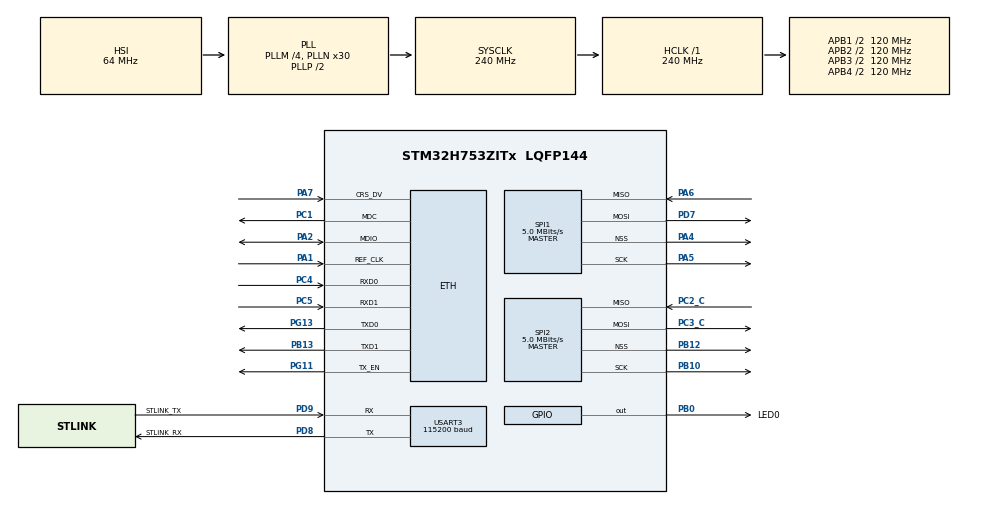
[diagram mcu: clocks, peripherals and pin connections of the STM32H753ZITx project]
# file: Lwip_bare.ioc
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CORTEX_M7.AccessPermission_S-Cortex_Memory_Protection_Unit_Region1_Settings_S=MPU_REGION_FULL_ACCESS
CORTEX_M7.AccessPermission_S-Cortex_Memory_Protection_Unit_Region2_Settings_S=MPU_REGION_FULL_ACCESS
CORTEX_M7.AccessPermission_Spec=MPU_REGION_NO_ACCESS
CORTEX_M7.BaseAddress_S-Cortex_Memory_Protection_Unit_Region1_Settings_S=0x30020000
CORTEX_M7.BaseAddress_S-Cortex_Memory_Protection_Unit_Region2_Settings_S=0x30040000
CORTEX_M7.BaseAddress_Spec=0x0
CORTEX_M7.CPU_DCache=Enabled
CORTEX_M7.CPU_ICache=Enabled
CORTEX_M7.DisableExec_S-Cortex_Memory_Protection_Unit_Region1_Settings_S=MPU_INSTRUCTION_ACCESS_DISABLE
CORTEX_M7.DisableExec_S-Cortex_Memory_Protection_Unit_Region2_Settings_S=MPU_INSTRUCTION_ACCESS_DISABLE
CORTEX_M7.DisableExec_Spec=MPU_INSTRUCTION_ACCESS_DISABLE
CORTEX_M7.Enable_S-Cortex_Memory_Protection_Unit_Region10_Settings_S=__NULL
CORTEX_M7.Enable_S-Cortex_Memory_Protection_Unit_Region11_Settings_S=__NULL
CORTEX_M7.Enable_S-Cortex_Memory_Protection_Unit_Region12_Settings_S=__NULL
CORTEX_M7.Enable_S-Cortex_Memory_Protection_Unit_Region13_Settings_S=__NULL
CORTEX_M7.Enable_S-Cortex_Memory_Protection_Unit_Region14_Settings_S=__NULL
CORTEX_M7.Enable_S-Cortex_Memory_Protection_Unit_Region15_Settings_S=__NULL
CORTEX_M7.Enable_S-Cortex_Memory_Protection_Unit_Region1_Settings_S=MPU_REGION_ENABLE
CORTEX_M7.Enable_S-Cortex_Memory_Protection_Unit_Region2_Settings_S=MPU_REGION_ENABLE
CORTEX_M7.Enable_S-Cortex_Memory_Protection_Unit_Region3_Settings_S=__NULL
CORTEX_M7.Enable_S-Cortex_Memory_Protection_Unit_Region4_Settings_S=__NULL
CORTEX_M7.Enable_S-Cortex_Memory_Protection_Unit_Region5_Settings_S=__NULL
CORTEX_M7.Enable_S-Cortex_Memory_Protection_Unit_Region6_Settings_S=__NULL
CORTEX_M7.Enable_S-Cortex_Memory_Protection_Unit_Region7_Settings_S=__NULL
CORTEX_M7.Enable_S-Cortex_Memory_Protection_Unit_Region8_Settings_S=__NULL
CORTEX_M7.Enable_S-Cortex_Memory_Protection_Unit_Region9_Settings_S=__NULL
CORTEX_M7.Enable_Spec=MPU_REGION_ENABLE
CORTEX_M7.IsBufferable_S-Cortex_Memory_Protection_Unit_Region1_Settings_S=MPU_ACCESS_NOT_BUFFERABLE
CORTEX_M7.IsBufferable_S-Cortex_Memory_Protection_Unit_Region2_Settings_S=MPU_ACCESS_BUFFERABLE
CORTEX_M7.IsBufferable_Spec=MPU_ACCESS_NOT_BUFFERABLE
CORTEX_M7.IsCacheable_S-Cortex_Memory_Protection_Unit_Region1_Settings_S=MPU_ACCESS_NOT_CACHEABLE
CORTEX_M7.IsCacheable_S-Cortex_Memory_Protection_Unit_Region2_Settings_S=MPU_ACCESS_NOT_CACHEABLE
CORTEX_M7.IsCacheable_Spec=MPU_ACCESS_NOT_CACHEABLE
CORTEX_M7.IsShareable_S-Cortex_Memory_Protection_Unit_Region1_Settings_S=MPU_ACCESS_NOT_SHAREABLE
CORTEX_M7.IsShareable_S-Cortex_Memory_Protection_Unit_Region2_Settings_S=MPU_ACCESS_SHAREABLE
CORTEX_M7.IsShareable_Spec=MPU_ACCESS_SHAREABLE
CORTEX_M7.MPU_Control=MPU_PRIVILEGED_DEFAULT
CORTEX_M7.Size_S-Cortex_Memory_Protection_Unit_Region1_Settings_S=MPU_REGION_SIZE_128KB
CORTEX_M7.Size_S-Cortex_Memory_Protection_Unit_Region2_Settings_S=MPU_REGION_SIZE_512B
CORTEX_M7.Size_Spec=MPU_REGION_SIZE_4GB
CORTEX_M7.SubRegionDisable_S-Cortex_Memory_Protection_Unit_Region1_Settings_S=0x0
CORTEX_M7.SubRegionDisable_S-Cortex_Memory_Protection_Unit_Region2_Settings_S=0x0
CORTEX_M7.SubRegionDisable_Spec=0x87
CORTEX_M7.TypeExtField_S-Cortex_Memory_Protection_Unit_Region1_Settings_S=MPU_TEX_LEVEL1
CORTEX_M7.TypeExtField_S-Cortex_Memory_Protection_Unit_Region2_Settings_S=MPU_TEX_LEVEL0
CORTEX_M7.TypeExtField_Spec=MPU_TEX_LEVEL0
CORTEX_M7.default_mode_Activation=1
ETH.ETH_RX_DESC_CNT=4
ETH.ETH_TX_DESC_CNT=4
ETH.MACAddr=00\:80\:E1\:00\:00\:00
ETH.MediaInterface=HAL_ETH_RMII_MODE
ETH.RxBuffLen=1536
ETH.RxBufferAddress=0x30040200
ETH.RxDescAddress=0x30040000
ETH.TxDescAddress=0x30040060
LWIP.API_LIB_DEBUG=LWIP_DBG_OFF
LWIP.API_MSG_DEBUG=LWIP_DBG_OFF
LWIP.ARP_MAXAGE=300
LWIP.ARP_QUEUEING=0
LWIP.ARP_QUEUE_LEN=3
LWIP.ARP_TABLE_SIZE=10
LWIP.AUTOIP_DEBUG=LWIP_DBG_OFF
LWIP.BSP.number=1
LWIP.CBCP_SUPPORT=0
LWIP.CCP_SUPPORT=0
LWIP.CHAP_DEFTIMEOUT=6
LWIP.CHAP_DEFTRANSMITS=10
LWIP.CHAP_SUPPORT=0
LWIP.CHECKSUM_BY_HARDWARE=1
LWIP.CHECKSUM_CHECK_ICMP=1
LWIP.CHECKSUM_CHECK_ICMP6=0
LWIP.CHECKSUM_CHECK_IP=0
LWIP.CHECKSUM_CHECK_TCP=0
LWIP.CHECKSUM_CHECK_UDP=0
LWIP.CHECKSUM_GEN_ICMP=1
LWIP.CHECKSUM_GEN_ICMP6=0
LWIP.CHECKSUM_GEN_IP=0
LWIP.CHECKSUM_GEN_TCP=0
LWIP.CHECKSUM_GEN_UDP=0
LWIP.CMSIS_VERSION-Enabled=1
LWIP.DEFAULT_ACCEPTMBOX_SIZE=6
LWIP.DEFAULT_RAW_RECVMBOX_SIZE=0
LWIP.DEFAULT_TCP_RECVMBOX_SIZE=6
LWIP.DEFAULT_THREAD_NAME="lwIP"
LWIP.DEFAULT_THREAD_PRIO=3
LWIP.DEFAULT_THREAD_STACKSIZE=1024
LWIP.DEFAULT_UDP_RECVMBOX_SIZE=6
LWIP.DEMAND_SUPPORT=0
LWIP.DHCP6_DEBUG=LWIP_DBG_OFF
LWIP.DHCP_DEBUG=LWIP_DBG_OFF
LWIP.DHCP_DOES_ARP_CHECK=1
LWIP.DNS_DEBUG=LWIP_DBG_OFF
LWIP.DNS_DOES_NAME_CHECK=1
LWIP.DNS_LOCAL_HOSTLIST=0
LWIP.DNS_LOCAL_HOSTLIST_IS_DYNAMIC=0
LWIP.DNS_MAX_NAME_LENGTH=256
LWIP.DNS_MAX_RETRIES=4
LWIP.DNS_MAX_SERVERS=2
LWIP.DNS_TABLE_SIZE=4
LWIP.EAP_DEFALLOWREQ=10
LWIP.EAP_DEFREQTIME=6
LWIP.EAP_SUPPORT=0
LWIP.ECP_SUPPORT=0
LWIP.ETHARP_DEBUG=LWIP_DBG_OFF
LWIP.ETHARP_STATS=0
LWIP.ETHARP_SUPPORT_STATIC_ENTRIES=0
LWIP.ETHARP_SUPPORT_VLAN=0
LWIP.ETHARP_TABLE_MATCH_NETIF=1
LWIP.ETH_PAD_SIZE=0
LWIP.ETH_RX_BUFFER_CNT=10
LWIP.FSM_DEFMAXCONFREQS=10
LWIP.FSM_DEFMAXNAKLOOPS=5
LWIP.FSM_DEFMAXTERMREQS=2
LWIP.FSM_DEFTIMEOUT=6
LWIP.HTTPD_DEBUG=LWIP_DBG_OFF
LWIP.HTTPD_DEBUG_TIMING=LWIP_DBG_OFF
LWIP.ICMP6_STATS=0
LWIP.ICMP_DEBUG=LWIP_DBG_OFF
LWIP.ICMP_STATS=0
LWIP.ICMP_TTL=255
LWIP.IGMP_DEBUG=LWIP_DBG_OFF
LWIP.IGMP_STATS=0
LWIP.INET_DEBUG=LWIP_DBG_OFF
LWIP.IP6_DEBUG=LWIP_DBG_OFF
LWIP.IP6_FRAG_STATS=0
LWIP.IP6_STATS=0
LWIP.IPFRAG_STATS=0
LWIP.IPV6_REASS_MAXAGE=60
LWIP.IP_ADDRESS=010.022.247.108
LWIP.IP_DEBUG=LWIP_DBG_OFF
LWIP.IP_DEFAULT_TTL=255
LWIP.IP_FORWARD=0
LWIP.IP_FORWARD_ALLOW_TX_ON_RX_NETIF=0
LWIP.IP_FRAG=1
LWIP.IP_OPTIONS_ALLOWED=1
LWIP.IP_REASSEMBLY=1
LWIP.IP_REASS_DEBUG=LWIP_DBG_OFF
LWIP.IP_REASS_MAXAGE=15
LWIP.IP_REASS_MAX_PBUFS=10
LWIP.IP_SOF_BROADCAST=0
LWIP.IP_SOF_BROADCAST_RECV=0
LWIP.IP_STATS=0
LWIP.LCP_DEFLOOPBACKFAIL=10
LWIP.LCP_ECHOINTERVAL=0
LWIP.LCP_MAXECHOFAILS=3
LWIP.LINK_STATS=0
LWIP.LQR_SUPPORT=0
LWIP.LWIP_ALLOW_MEM_FREE_FROM_OTHER_CONTEXT=0
LWIP.LWIP_ALTCP=0
LWIP.LWIP_ALTCP_TLS=0
LWIP.LWIP_ARP=1
LWIP.LWIP_AUTOIP=0
LWIP.LWIP_BROADCAST_PING=0
LWIP.LWIP_CALLBACK_API=1
LWIP.LWIP_CHECKSUM_CTRL_PER_NETIF=0
LWIP.LWIP_CHECKSUM_ON_COPY=0
LWIP.LWIP_COMPAT_SOCKETS=1
LWIP.LWIP_DBG_MIN_LEVEL=LWIP_DBG_LEVEL_ALL
LWIP.LWIP_DBG_TYPES_ON=LWIP_DBG_ON
LWIP.LWIP_DHCP=1
LWIP.LWIP_DHCP6_GET_NTP_SRV=0
LWIP.LWIP_DHCP6_MAX_DNS_SERVERS=2
LWIP.LWIP_DHCP6_MAX_NTP_SERVERS=1
LWIP.LWIP_DHCP_AUTOIP_COOP=0
LWIP.LWIP_DHCP_AUTOIP_COOP_TRIES=9
LWIP.LWIP_DHCP_BOOTP_FILE=0
LWIP.LWIP_DHCP_GET_NTP_SRV=0
LWIP.LWIP_DHCP_MAX_DNS_SERVERS=2
LWIP.LWIP_DHCP_MAX_NTP_SERVERS=1
LWIP.LWIP_DISABLE_MEMP_SANITY_CHECKS=0
LWIP.LWIP_DISABLE_TCP_SANITY_CHECKS=0
LWIP.LWIP_DNS=0
LWIP.LWIP_DNS_SECURE=7
LWIP.LWIP_DNS_SUPPORT_MDNS_QUERIES=0
LWIP.LWIP_ETHERNET=1
LWIP.LWIP_EVENT_API=0
LWIP.LWIP_HAVE_LOOPIF=0
LWIP.LWIP_HTTPD=0
LWIP.LWIP_ICMP=1
LWIP.LWIP_ICMP6=0
LWIP.LWIP_ICMP6_DATASIZE=8
LWIP.LWIP_ICMP6_HL=255
LWIP.LWIP_IGMP=0
LWIP.LWIP_INCLUDED_POLARSSL_ARC4=0
LWIP.LWIP_INCLUDED_POLARSSL_DES=0
LWIP.LWIP_INCLUDED_POLARSSL_MD4=0
LWIP.LWIP_INCLUDED_POLARSSL_MD5=0
LWIP.LWIP_INCLUDED_POLARSSL_SHA1=0
LWIP.LWIP_IPV4=1
LWIP.LWIP_IPV6=0
LWIP.LWIP_IPV6_ADDRESS_LIFETIMES=0
LWIP.LWIP_IPV6_AUTOCONFIG=0
LWIP.LWIP_IPV6_DHCP6=0
LWIP.LWIP_IPV6_DHCP6_STATEFUL=0
LWIP.LWIP_IPV6_DHCP6_STATELESS=0
LWIP.LWIP_IPV6_DUP_DETECT_ATTEMPTS=1
LWIP.LWIP_IPV6_FORWARD=0
LWIP.LWIP_IPV6_FRAG=1
LWIP.LWIP_IPV6_MLD=0
LWIP.LWIP_IPV6_NUM_ADDRESSES=3
LWIP.LWIP_IPV6_REASS=0
LWIP.LWIP_IPV6_SCOPES=0
LWIP.LWIP_IPV6_SCOPES_DEBUG=0
LWIP.LWIP_IPV6_SEND_ROUTER_SOLICIT=1
LWIP.LWIP_LOOPBACK_MAX_PBUFS=0
LWIP.LWIP_LOOPIF_MULTICAST=0
LWIP.LWIP_MDNS=0
LWIP.LWIP_MIB2_CALLBACKS=0
LWIP.LWIP_MPU_COMPATIBLE=0
LWIP.LWIP_MULTICAST_PING=0
LWIP.LWIP_MULTICAST_TX_OPTIONS=0
LWIP.LWIP_ND6_ALLOW_RA_UPDATES=1
LWIP.LWIP_ND6_DELAY_FIRST_PROBE_TIME=5000
LWIP.LWIP_ND6_MAX_ANYCAST_DELAY_TIME=1000
LWIP.LWIP_ND6_MAX_MULTICAST_SOLICIT=3
LWIP.LWIP_ND6_MAX_NEIGHBOR_ADVERTISEMENT=3
LWIP.LWIP_ND6_MAX_UNICAST_SOLICIT=3
LWIP.LWIP_ND6_NUM_DESTINATIONS=10
LWIP.LWIP_ND6_NUM_NEIGHBORS=10
LWIP.LWIP_ND6_NUM_PREFIXES=5
LWIP.LWIP_ND6_NUM_ROUTERS=3
LWIP.LWIP_ND6_QUEUEING=0
LWIP.LWIP_ND6_RDNSS_MAX_DNS_SERVERS=0
LWIP.LWIP_ND6_REACHABLE_TIME=30000
LWIP.LWIP_ND6_RETRANS_TIMER=1000
LWIP.LWIP_ND6_TCP_REACHABILITY_HINTS=1
LWIP.LWIP_NETBUF_RECVINFO=0
LWIP.LWIP_NETIF_API=0
LWIP.LWIP_NETIF_EXT_STATUS_CALLBACK=0
LWIP.LWIP_NETIF_HOSTNAME=0
LWIP.LWIP_NETIF_HWADDRHINT=0
LWIP.LWIP_NETIF_LINK_CALLBACK=1
LWIP.LWIP_NETIF_LOOPBACK=1
LWIP.LWIP_NETIF_LOOPBACK_MULTITHREADING=0
LWIP.LWIP_NETIF_REMOVE_CALLBACK=0
LWIP.LWIP_NETIF_STATUS_CALLBACK=0
LWIP.LWIP_NETIF_TX_SINGLE_PBUF=0
LWIP.LWIP_NUM_NETIF_CLIENT_DATA=0
LWIP.LWIP_PBUF_REF_T=u8_t
LWIP.LWIP_PERF=0
LWIP.LWIP_PPP_API=0
LWIP.LWIP_RAM_HEAP_POINTER=0x30020000
LWIP.LWIP_RAW=0
LWIP.LWIP_SINGLE_NETIF=0
LWIP.LWIP_SMTP=0
LWIP.LWIP_SNMP=0
LWIP.LWIP_SNMP_CONFIGURE_VERSIONS=0
LWIP.LWIP_SNMP_V3=0
LWIP.LWIP_SNMP_V3_CRYPTO=0
LWIP.LWIP_SNMP_V3_MBEDTLS=0
LWIP.LWIP_SNTP=0
LWIP.LWIP_SOCKET=0
LWIP.LWIP_SOCKET_OFFSET=0
LWIP.LWIP_STATS=0
LWIP.LWIP_STATS_DISPLAY=0
LWIP.LWIP_SUPPORT_CUSTOM_PBUF=1
LWIP.LWIP_TCP=1
LWIP.LWIP_TCPIP_CORE_LOCKING=0
LWIP.LWIP_TCPIP_CORE_LOCKING_INPUT=0
LWIP.LWIP_TCP_CLOSE_TIMEOUT_MS_DEFAULT=20000
LWIP.LWIP_TCP_MAX_SACK_NUM=4
LWIP.LWIP_TCP_PCB_NUM_EXT_ARGS=0
LWIP.LWIP_TCP_SACK_OUT=0
LWIP.LWIP_TCP_TIMESTAMPS=0
LWIP.LWIP_TESTMODE=0
LWIP.LWIP_TFTP=0
LWIP.LWIP_TIMERS=1
LWIP.LWIP_TIMERS_CUSTOM=0
LWIP.LWIP_UDP=1
LWIP.LWIP_UDPLITE=0
LWIP.LWIP_USE_EXTERNAL_MBEDTLS=0
LWIP.LWIP_USE_EXTERNAL_POLARSSL=0
LWIP.LWIP_WND_SCALE=0
LWIP.MAXNAMELEN=256
LWIP.MAXSECRETLEN=256
LWIP.MDNS_DEBUG=LWIP_DBG_OFF
LWIP.MEMCPY(dst,src,len)=memcpy(dst,src,len)
LWIP.MEMMOVE(dst,src,len)=memmove(dst,src,len)
LWIP.MEMP_DEBUG=LWIP_DBG_OFF
LWIP.MEMP_MEM_INIT=0
LWIP.MEMP_MEM_MALLOC=0
LWIP.MEMP_NUM_API_MSG=8
LWIP.MEMP_NUM_ARP_QUEUE=30
LWIP.MEMP_NUM_DNS_API_MSG=8
LWIP.MEMP_NUM_FRAG_PBUF=15
LWIP.MEMP_NUM_IGMP_GROUP=8
LWIP.MEMP_NUM_LOCALHOSTLIST=1
LWIP.MEMP_NUM_MLD6_GROUP=4
LWIP.MEMP_NUM_ND6_QUEUE=20
LWIP.MEMP_NUM_NETBUF=2
LWIP.MEMP_NUM_NETCONN=4
LWIP.MEMP_NUM_NETDB=1
LWIP.MEMP_NUM_NETIFAPI_MSG=8
LWIP.MEMP_NUM_PBUF=16
LWIP.MEMP_NUM_PPPOE_INTERFACES=1
LWIP.MEMP_NUM_PPPOL2TP_INTERFACES=1
LWIP.MEMP_NUM_PPPOS_INTERFACES=1
LWIP.MEMP_NUM_PPP_API_MSG=5
LWIP.MEMP_NUM_PPP_PCB=1
LWIP.MEMP_NUM_RAW_PCB=4
LWIP.MEMP_NUM_REASSDATA=5
LWIP.MEMP_NUM_SELECT_CB=4
LWIP.MEMP_NUM_SOCKET_SETGETSOCKOPT_DATA=8
LWIP.MEMP_NUM_SYS_TIMEOUT=5
LWIP.MEMP_NUM_TCPIP_MSG_API=8
LWIP.MEMP_NUM_TCPIP_MSG_INPKT=8
LWIP.MEMP_NUM_TCP_PCB=5
LWIP.MEMP_NUM_TCP_PCB_LISTEN=8
LWIP.MEMP_NUM_TCP_SEG=16
LWIP.MEMP_NUM_UDP_PCB=4
LWIP.MEMP_OVERFLOW_CHECK=0
LWIP.MEMP_SANITY_CHECK=0
LWIP.MEMP_STATS=0
LWIP.MEMP_USE_CUSTOM_POOLS=0
LWIP.MEM_ALIGNMENT=4
LWIP.MEM_DEBUG=LWIP_DBG_OFF
LWIP.MEM_LIBC_MALLOC=0
LWIP.MEM_OVERFLOW_CHECK=0
LWIP.MEM_SANITY_CHECK=0
LWIP.MEM_SIZE=16360
LWIP.MEM_STATS=0
LWIP.MEM_USE_POOLS=0
LWIP.MEM_USE_POOLS_TRY_BIGGER_POOL=0
LWIP.MIB2_STATS=0
LWIP.MLD6_STATS=0
LWIP.MPPE_SUPPORT=0
LWIP.MSCHAP_SUPPORT=0
LWIP.ND6_STATS=0
LWIP.NETIF_DEBUG=LWIP_DBG_OFF
LWIP.NETMASK_ADDRESS=255.255.255.000
LWIP.NO_SYS=1
LWIP.PAP_SUPPORT=0
LWIP.PBUF_DEBUG=LWIP_DBG_OFF
LWIP.PBUF_LINK_ENCAPSULATION_HLEN=0
LWIP.PBUF_LINK_HLEN=14
LWIP.PBUF_POOL_BUFSIZE=592
LWIP.PBUF_POOL_SIZE=16
LWIP.PPPOE_SUPPORT=0
LWIP.PPPOL2TP_AUTH_SUPPORT=0
LWIP.PPPOL2TP_SUPPORT=0
LWIP.PPPOS_SUPPORT=0
LWIP.PPP_DEBUG=LWIP_DBG_OFF
LWIP.PPP_DEFMRU=1500
LWIP.PPP_FCS_TABLE=1
LWIP.PPP_INPROC_IRQ_SAFE=0
LWIP.PPP_IPV4_SUPPORT=1
LWIP.PPP_IPV6_SUPPORT=0
LWIP.PPP_MAXIDLEFLAG=100
LWIP.PPP_MAXMRU=1500
LWIP.PPP_MD5_RANDM=0
LWIP.PPP_MINMRU=128
LWIP.PPP_MRU=1500
LWIP.PPP_NOTIFY_PHASE=0
LWIP.PPP_NUM_TIMEOUTS=0
LWIP.PPP_NUM_TIMEOUTS_PER_PCB=2
LWIP.PPP_SERVER=0
LWIP.PPP_SUPPORT=0
LWIP.PPP_USE_PBUF_RAM=0
LWIP.PRINTPKT_SUPPORT=0
LWIP.RAW_DEBUG=LWIP_DBG_OFF
LWIP.RAW_TTL=255
LWIP.RECV_BUFSIZE_DEFAULT=2000000000
LWIP.SLIPIF_THREAD_NAME="slipif_loop"
LWIP.SLIPIF_THREAD_PRIO=3
LWIP.SLIPIF_THREAD_STACKSIZE=1024
LWIP.SLIP_DEBUG=LWIP_DBG_OFF
LWIP.SMEMCPY(dst,src,len)=memcpy(dst,src,len)
LWIP.SMTP_DEBUG=LWIP_DBG_OFF
LWIP.SNMP_DEBUG=LWIP_DBG_OFF
LWIP.SNMP_LWIP_MIB2=0
LWIP.SNMP_MIB_DEBUG=LWIP_DBG_OFF
LWIP.SNMP_USE_NETCONN=0
LWIP.SNMP_USE_RAW=1
LWIP.SNTP_DEBUG=LWIP_DBG_OFF
LWIP.SOCKETS_DEBUG=LWIP_DBG_OFF
LWIP.SYS_DEBUG=LWIP_DBG_OFF
LWIP.SYS_LIGHTWEIGHT_PROT=0
LWIP.SYS_STATS=0
LWIP.TCPIP_DEBUG=LWIP_DBG_OFF
LWIP.TCPIP_MBOX_SIZE=6
LWIP.TCPIP_THREAD_NAME="tcpip_thread"
LWIP.TCPIP_THREAD_PRIO=24
LWIP.TCPIP_THREAD_STACKSIZE=1024
LWIP.TCP_CALCULATE_EFF_SEND_MSS=1
LWIP.TCP_CWND_DEBUG=LWIP_DBG_OFF
LWIP.TCP_DEBUG=LWIP_DBG_OFF
LWIP.TCP_DEFAULT_LISTEN_BACKLOG=255
LWIP.TCP_FR_DEBUG=LWIP_DBG_OFF
LWIP.TCP_INPUT_DEBUG=LWIP_DBG_OFF
LWIP.TCP_LISTEN_BACKLOG=0
LWIP.TCP_MAXRTX=12
LWIP.TCP_MSS=536
LWIP.TCP_OOSEQ_BYTES_LIMIT(pcb)=0
LWIP.TCP_OOSEQ_MAX_BYTES=0
LWIP.TCP_OOSEQ_MAX_PBUFS=0
LWIP.TCP_OOSEQ_PBUFS_LIMIT(pcb)=0
LWIP.TCP_OUTPUT_DEBUG=LWIP_DBG_OFF
LWIP.TCP_OVERSIZE=TCP_MSS
LWIP.TCP_QLEN_DEBUG=LWIP_DBG_OFF
LWIP.TCP_QUEUE_OOSEQ=1
LWIP.TCP_RCV_SCALE=0
LWIP.TCP_RST_DEBUG=LWIP_DBG_OFF
LWIP.TCP_RTO_DEBUG=LWIP_DBG_OFF
LWIP.TCP_SNDLOWAT=1071
LWIP.TCP_SNDQUEUELOWAT=5
LWIP.TCP_SND_BUF=1072
LWIP.TCP_SND_QUEUELEN=9
LWIP.TCP_STATS=0
LWIP.TCP_SYNMAXRTX=6
LWIP.TCP_TTL=255
LWIP.TCP_WND=2144
LWIP.TCP_WND_DEBUG=LWIP_DBG_OFF
LWIP.TCP_WND_UPDATE_THRESHOLD=536
LWIP.TFTP_DEBUG=LWIP_DBG_OFF
LWIP.TIMERS_DEBUG=LWIP_DBG_OFF
LWIP.UDP_DEBUG=LWIP_DBG_OFF
LWIP.UDP_STATS=0
LWIP.UDP_TTL=255
LWIP.UPAP_DEFREQTIME=30
LWIP.UPAP_DEFTIMEOUT=6
LWIP.UPAP_DEFTRANSMITS=10
LWIP.VJ_SUPPORT=0
LWIP.Version=v2.1.2_Cube
LWIP0.BSP.STBoard=false
LWIP0.BSP.api=BSP_COMPONENT_DRIVER
LWIP0.BSP.component=LAN8742
LWIP0.BSP.instance=LAN8742
LWIP0.BSP.name=Driver_PHY
LWIP0.BSP.semaphore=S_LAN8742
LWIP0.BSP.solution=LAN8742
Mcu.Family=STM32H7
Mcu.Name=STM32H753ZITx
Mcu.Package=LQFP144
NVIC.ETH_IRQn=true\:5\:0\:false\:false\:true\:true\:true\:true
NVIC.PriorityGroup=NVIC_PRIORITYGROUP_4
NVIC.SPI1_IRQn=true\:5\:0\:true\:false\:true\:true\:true\:true
NVIC.SPI2_IRQn=true\:5\:0\:true\:false\:true\:true\:true\:true
NVIC.TIM2_IRQn=true\:0\:0\:false\:false\:true\:true\:true\:true
NVIC.TIM6_DAC_IRQn=true\:15\:0\:false\:false\:true\:false\:true\:true
NVIC.TimeBase=TIM6_DAC_IRQn
NVIC.TimeBaseIP=TIM6
PA1.GPIO_Speed_Default_HIGH=GPIO_SPEED_FREQ_VERY_HIGH
PA1.Mode=RMII
PA1.Signal=ETH_REF_CLK
PA2.GPIO_Speed_Default_HIGH=GPIO_SPEED_FREQ_VERY_HIGH
PA2.Mode=RMII
PA2.Signal=ETH_MDIO
PA4.Mode=NSS_Signal_Hard_Output
PA4.Signal=SPI1_NSS
PA5.Mode=Full_Duplex_Master
PA5.Signal=SPI1_SCK
PA6.Mode=Full_Duplex_Master
PA6.Signal=SPI1_MISO
PA7.GPIO_Speed_Default_HIGH=GPIO_SPEED_FREQ_VERY_HIGH
PA7.Mode=RMII
PA7.Signal=ETH_CRS_DV
PB0.GPIO_Label=LED0
PB0.Signal=GPIO_Output
PB10.Mode=Full_Duplex_Master
PB10.Signal=SPI2_SCK
PB12.Mode=NSS_Signal_Hard_Output
PB12.Signal=SPI2_NSS
PB13.GPIO_Speed_Default_HIGH=GPIO_SPEED_FREQ_VERY_HIGH
PB13.Mode=RMII
PB13.Signal=ETH_TXD1
PC1.GPIO_Speed_Default_HIGH=GPIO_SPEED_FREQ_VERY_HIGH
PC1.Mode=RMII
PC1.Signal=ETH_MDC
PC14-OSC32_IN\ (OSC32_IN).Signal=RCC_OSC32_IN
PC15-OSC32_OUT\ (OSC32_OUT).Signal=RCC_OSC32_OUT
PC2_C.Mode=Full_Duplex_Master
PC2_C.Signal=SPI2_MISO
PC3_C.Mode=Full_Duplex_Master
PC3_C.Signal=SPI2_MOSI
PC4.GPIO_Speed_Default_HIGH=GPIO_SPEED_FREQ_VERY_HIGH
PC4.Mode=RMII
PC4.Signal=ETH_RXD0
PC5.GPIO_Speed_Default_HIGH=GPIO_SPEED_FREQ_VERY_HIGH
PC5.Mode=RMII
PC5.Signal=ETH_RXD1
PD7.Mode=Full_Duplex_Master
PD7.Signal=SPI1_MOSI
PD8.GPIO_Label=STLINK_RX
PD8.Mode=Asynchronous
PD8.Signal=USART3_TX
PD9.GPIO_Label=STLINK_TX
PD9.Mode=Asynchronous
PD9.Signal=USART3_RX
PG11.GPIO_Speed_Default_HIGH=GPIO_SPEED_FREQ_VERY_HIGH
PG11.Mode=RMII
PG11.Signal=ETH_TX_EN
PG13.GPIO_Speed_Default_HIGH=GPIO_SPEED_FREQ_VERY_HIGH
PG13.Mode=RMII
PG13.Signal=ETH_TXD0
PH0-OSC_IN\ (PH0).Mode=HSE-External-Clock-Source
PH0-OSC_IN\ (PH0).Signal=RCC_OSC_IN
PH1-OSC_OUT\ (PH1).Signal=RCC_OSC_OUT
ProjectManager.HeapSize=0x400
ProjectManager.StackSize=0x2000
ProjectManager.TargetToolchain=STM32CubeIDE
RCC.ADCFreq_Value=129000000
RCC.APB1Freq_Value=120000000
RCC.APB2Freq_Value=120000000
RCC.APB3Freq_Value=120000000
RCC.APB4Freq_Value=120000000
RCC.CortexFreq_Value=240000000
RCC.D1PPRE=RCC_APB3_DIV2
RCC.D2PPRE1=RCC_APB1_DIV2
RCC.D2PPRE2=RCC_APB2_DIV2
RCC.D3PPRE=RCC_APB4_DIV2
RCC.DIVM1=4
RCC.DIVN1=30
RCC.DIVQ1=3
RCC.FLatency=FLASH_LATENCY_4
RCC.HCLKFreq_Value=240000000
RCC.PLLFRACN=0
RCC.PWR_Regulator_Voltage_Scale=PWR_REGULATOR_VOLTAGE_SCALE0
RCC.SYSCLKFreq_VALUE=240000000
RCC.SYSCLKSource=RCC_SYSCLKSOURCE_PLLCLK
RCC.USBFreq_Value=160000000
SPI1.BaudRatePrescaler=SPI_BAUDRATEPRESCALER_32
SPI1.CLKPhase=SPI_PHASE_1EDGE
SPI1.CLKPolarity=SPI_POLARITY_LOW
SPI1.CRCCalculation=SPI_CRCCALCULATION_DISABLE
SPI1.CalculateBaudRate=5.0 MBits/s
SPI1.DataSize=SPI_DATASIZE_8BIT
SPI1.Direction=SPI_DIRECTION_2LINES
SPI1.FifoThreshold=SPI_FIFO_THRESHOLD_01DATA
SPI1.FirstBit=SPI_FIRSTBIT_MSB
SPI1.IOSwap=SPI_IO_SWAP_DISABLE
SPI1.MasterInterDataIdleness=SPI_MASTER_INTERDATA_IDLENESS_00CYCLE
SPI1.MasterKeepIOState=SPI_MASTER_KEEP_IO_STATE_DISABLE
SPI1.MasterReceiverAutoSusp=SPI_MASTER_RX_AUTOSUSP_DISABLE
SPI1.MasterSSIdleness=SPI_MASTER_SS_IDLENESS_00CYCLE
SPI1.Mode=SPI_MODE_MASTER
SPI1.NSS=SPI_NSS_HARD_OUTPUT
SPI1.NSSPMode=SPI_NSS_PULSE_ENABLE
SPI1.NSSPolarity=SPI_NSS_POLARITY_LOW
SPI1.RxCRCInitializationPattern=SPI_CRC_INITIALIZATION_ALL_ZERO_PATTERN
SPI1.TIMode=SPI_TIMODE_DISABLE
SPI1.TxCRCInitializationPattern=SPI_CRC_INITIALIZATION_ALL_ZERO_PATTERN
SPI1.VirtualNSS=VM_NSSHARD
SPI1.VirtualType=VM_MASTER
SPI2.BaudRatePrescaler=SPI_BAUDRATEPRESCALER_32
SPI2.CLKPhase=SPI_PHASE_1EDGE
SPI2.CLKPolarity=SPI_POLARITY_LOW
SPI2.CRCCalculation=SPI_CRCCALCULATION_DISABLE
SPI2.CalculateBaudRate=5.0 MBits/s
SPI2.DataSize=SPI_DATASIZE_8BIT
SPI2.Direction=SPI_DIRECTION_2LINES
SPI2.FifoThreshold=SPI_FIFO_THRESHOLD_01DATA
SPI2.FirstBit=SPI_FIRSTBIT_MSB
SPI2.IOSwap=SPI_IO_SWAP_DISABLE
SPI2.MasterInterDataIdleness=SPI_MASTER_INTERDATA_IDLENESS_00CYCLE
SPI2.MasterKeepIOState=SPI_MASTER_KEEP_IO_STATE_DISABLE
SPI2.MasterReceiverAutoSusp=SPI_MASTER_RX_AUTOSUSP_DISABLE
SPI2.MasterSSIdleness=SPI_MASTER_SS_IDLENESS_00CYCLE
SPI2.Mode=SPI_MODE_MASTER
SPI2.NSS=SPI_NSS_HARD_OUTPUT
SPI2.NSSPMode=SPI_NSS_PULSE_ENABLE
SPI2.NSSPolarity=SPI_NSS_POLARITY_LOW
SPI2.RxCRCInitializationPattern=SPI_CRC_INITIALIZATION_ALL_ZERO_PATTERN
SPI2.TIMode=SPI_TIMODE_DISABLE
SPI2.TxCRCInitializationPattern=SPI_CRC_INITIALIZATION_ALL_ZERO_PATTERN
SPI2.VirtualNSS=VM_NSSHARD
SPI2.VirtualType=VM_MASTER
TIM2.Period=240000-1
USART3.AutoBaudRateEnableParam=UART_ADVFEATURE_AUTOBAUDRATE_DISABLE
USART3.BaudRate=115200
USART3.ClockPrescaler=PRESCALER_DIV1
USART3.DMADisableonRxErrorParam=ADVFEATURE_DMA_ENABLEONRXERROR
USART3.DataInvertParam=ADVFEATURE_DATAINV_DISABLE
USART3.FIFOMode=FIFOMODE_DISABLE
USART3.MSBFirstParam=ADVFEATURE_MSBFIRST_DISABLE
USART3.Mode=MODE_TX_RX
USART3.OneBitSampling=UART_ONE_BIT_SAMPLE_DISABLE
USART3.OverSampling=UART_OVERSAMPLING_16
USART3.OverrunDisableParam=ADVFEATURE_OVERRUN_ENABLE
USART3.Parity=PARITY_NONE
USART3.RXFIFOThreshold=RXFIFO_THRESHOLD_1EIGHTHFULL
USART3.RxPinLevelInvertParam=ADVFEATURE_RXINV_DISABLE
USART3.StopBits=STOPBITS_1
USART3.SwapParam=ADVFEATURE_SWAP_DISABLE
USART3.TXFIFOThreshold=TXFIFO_THRESHOLD_1EIGHTHFULL
USART3.TxPinLevelInvertParam=ADVFEATURE_TXINV_DISABLE
USART3.VirtualMode-Asynchronous=VM_ASYNC
USART3.WordLength=WORDLENGTH_8B
VP_LWIP_VS_Enabled.Mode=Enabled
VP_MEMORYMAP_VS_MEMORYMAP.Mode=CurAppReg
VP_SYS_VS_tim6.Mode=TIM6
VP_TIM2_VS_ClockSourceINT.Mode=Internal
board=NUCLEO-H753ZI

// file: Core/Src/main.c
/* USER CODE BEGIN Header */
/**
  ******************************************************************************
  * @file           : main.c
  * @brief          : Main program body
  ******************************************************************************
  * @attention
  *
  * Copyright (c) 2026 STMicroelectronics.
  * All rights reserved.
  *
  * This software is licensed under terms that can be found in the LICENSE file
  * in the root directory of this software component.
  * If no LICENSE file comes with this software, it is provided AS-IS.
  *
  ******************************************************************************
  */
/* USER CODE END Header */
#include "main.h"
#include "lwip.h"

/* USER CODE BEGIN Includes */
#include<string.h>
#include "print3.h"

/* USER CODE END Includes */

/* USER CODE BEGIN PD */
#define UDP_BUF_SIZE 512
#define SPI_BUF_SIZE 52

/* USER CODE END PD */

SPI_HandleTypeDef hspi1;
SPI_HandleTypeDef hspi2;

TIM_HandleTypeDef htim2;

UART_HandleTypeDef huart3;

/* USER CODE BEGIN PV */

extern struct netif gnetif;

union udp_data{
	uint8_t bytes[UDP_BUF_SIZE];
	int16_t values[UDP_BUF_SIZE/2];
};

union udp_data udp_rx;

/* SPI buffers */

union cmd_data {
    uint8_t bytes[SPI_BUF_SIZE];
    int16_t values[SPI_BUF_SIZE/2];
};

union cmd_data spi1_tx;
union cmd_data spi2_tx;
union cmd_data spi1_rx;
union cmd_data spi2_rx;

uint8_t spi_state = 0;
uint8_t spi_complete = 0;
uint16_t spi_msg_size = 0;
uint8_t spi_data_ready = 0;
uint8_t udp_avail = 0;

uint32_t sys_time_ms = 0;
uint32_t start = 0;
uint32_t end = 0;

/* USER CODE END PV */

void SystemClock_Config(void);
static void MPU_Config(void);
static void MX_GPIO_Init(void);
static void MX_SPI1_Init(void);
static void MX_SPI2_Init(void);
static void MX_USART3_UART_Init(void);
static void MX_TIM2_Init(void);
/* USER CODE BEGIN PFP */
void udp_receive_callback( void* arg,              // User argument - udp_recv `arg` parameter
                           struct udp_pcb* upcb,   // Receiving Protocol Control Block
                           struct pbuf* p,         // Pointer to Datagram
                           const ip_addr_t* addr,  // Address of sender
                           u16_t port );

uint32_t sys_time(void);

/* USER CODE END PFP */

int main(void)
{

  /* MPU Configuration--------------------------------------------------------*/
  MPU_Config();

  /* Enable the CPU Cache */

  /* Enable I-Cache---------------------------------------------------------*/
  SCB_EnableICache();

  /* Enable D-Cache---------------------------------------------------------*/
  SCB_EnableDCache();

  /* MCU Configuration--------------------------------------------------------*/

  /* Reset of all peripherals, Initializes the Flash interface and the Systick. */
  HAL_Init();

  /* Configure the system clock */
  SystemClock_Config();

  /* Initialize all configured peripherals */
  MX_GPIO_Init();
  MX_LWIP_Init();
  MX_SPI1_Init();
  MX_SPI2_Init();
  MX_USART3_UART_Init();
  MX_TIM2_Init();
  /* USER CODE BEGIN 2 */

  HAL_TIM_Base_Start_IT(&htim2);
	memset(&spi1_tx.bytes, 0, sizeof(spi1_tx.bytes));
	memset(&spi2_tx.bytes, 0, sizeof(spi2_tx.bytes));

	char msg[1024] = { 0 };

	print_uart3("Starting KASM Interface\r\n");

	/*wait for IP address to be assigned. DHCP can take a few seconds*/

	char no_ip[] = "0.0.0.0";

	print_uart3("Waiting for IP address to be assigned\r\n");

	while (strcmp(no_ip, ip4addr_ntoa(netif_ip4_addr(&gnetif))) == 0) {
		MX_LWIP_Process();
	}

	/* Determine IP address */
	sprintf(msg, "IP address: %s\r\n", ip4addr_ntoa(netif_ip4_addr(&gnetif)));
	print_uart3(msg);
	sprintf(msg, "Netmask: %s\r\n", ip4addr_ntoa(netif_ip4_netmask(&gnetif)));
	print_uart3(msg);
	sprintf(msg, "Gateway: %s\r\n", ip4addr_ntoa(netif_ip4_gw(&gnetif)));
	print_uart3(msg);

	u16_t port = 5001; // port to listen from

	struct udp_pcb *my_udp = udp_new();

	udp_bind(my_udp, IP_ADDR_ANY, port);
	udp_recv(my_udp, udp_receive_callback, NULL);

  /* USER CODE END 2 */

  /* Infinite loop */
  /* USER CODE BEGIN WHILE */
	while (1) {
		MX_LWIP_Process();

		if(spi_data_ready==1){
			sprintf(msg, "Elapsed time from receipt of ethernet to spi complete %lu\r\n", end-start);
			print_uart3(msg);
			spi_data_ready=0;
		}

    /* USER CODE END WHILE */

	}
}

void SystemClock_Config(void)
{
  RCC_OscInitTypeDef RCC_OscInitStruct = {0};
  RCC_ClkInitTypeDef RCC_ClkInitStruct = {0};

  /** Supply configuration update enable
  */
  HAL_PWREx_ConfigSupply(PWR_LDO_SUPPLY);

  /** Configure the main internal regulator output voltage
  */
  __HAL_PWR_VOLTAGESCALING_CONFIG(PWR_REGULATOR_VOLTAGE_SCALE0);

  while(!__HAL_PWR_GET_FLAG(PWR_FLAG_VOSRDY)) {}

  /** Initializes the RCC Oscillators according to the specified parameters
  * in the RCC_OscInitTypeDef structure.
  */
  RCC_OscInitStruct.OscillatorType = RCC_OSCILLATORTYPE_HSI;
  RCC_OscInitStruct.HSIState = RCC_HSI_DIV1;
  RCC_OscInitStruct.HSICalibrationValue = RCC_HSICALIBRATION_DEFAULT;
  RCC_OscInitStruct.PLL.PLLState = RCC_PLL_ON;
  RCC_OscInitStruct.PLL.PLLSource = RCC_PLLSOURCE_HSI;
  RCC_OscInitStruct.PLL.PLLM = 4;
  RCC_OscInitStruct.PLL.PLLN = 30;
  RCC_OscInitStruct.PLL.PLLP = 2;
  RCC_OscInitStruct.PLL.PLLQ = 3;
  RCC_OscInitStruct.PLL.PLLR = 2;
  RCC_OscInitStruct.PLL.PLLRGE = RCC_PLL1VCIRANGE_3;
  RCC_OscInitStruct.PLL.PLLVCOSEL = RCC_PLL1VCOWIDE;
  RCC_OscInitStruct.PLL.PLLFRACN = 0;
  if (HAL_RCC_OscConfig(&RCC_OscInitStruct) != HAL_OK)
  {
    Error_Handler();
  }

  /** Initializes the CPU, AHB and APB buses clocks
  */
  RCC_ClkInitStruct.ClockType = RCC_CLOCKTYPE_HCLK|RCC_CLOCKTYPE_SYSCLK
                              |RCC_CLOCKTYPE_PCLK1|RCC_CLOCKTYPE_PCLK2
                              |RCC_CLOCKTYPE_D3PCLK1|RCC_CLOCKTYPE_D1PCLK1;
  RCC_ClkInitStruct.SYSCLKSource = RCC_SYSCLKSOURCE_PLLCLK;
  RCC_ClkInitStruct.SYSCLKDivider = RCC_SYSCLK_DIV1;
  RCC_ClkInitStruct.AHBCLKDivider = RCC_HCLK_DIV1;
  RCC_ClkInitStruct.APB3CLKDivider = RCC_APB3_DIV2;
  RCC_ClkInitStruct.APB1CLKDivider = RCC_APB1_DIV2;
  RCC_ClkInitStruct.APB2CLKDivider = RCC_APB2_DIV2;
  RCC_ClkInitStruct.APB4CLKDivider = RCC_APB4_DIV2;

  if (HAL_RCC_ClockConfig(&RCC_ClkInitStruct, FLASH_LATENCY_4) != HAL_OK)
  {
    Error_Handler();
  }
}

static void MX_SPI1_Init(void)
{

  /* SPI1 parameter configuration*/
  hspi1.Instance = SPI1;
  hspi1.Init.Mode = SPI_MODE_MASTER;
  hspi1.Init.Direction = SPI_DIRECTION_2LINES;
  hspi1.Init.DataSize = SPI_DATASIZE_8BIT;
  hspi1.Init.CLKPolarity = SPI_POLARITY_LOW;
  hspi1.Init.CLKPhase = SPI_PHASE_1EDGE;
  hspi1.Init.NSS = SPI_NSS_HARD_OUTPUT;
  hspi1.Init.BaudRatePrescaler = SPI_BAUDRATEPRESCALER_32;
  hspi1.Init.FirstBit = SPI_FIRSTBIT_MSB;
  hspi1.Init.TIMode = SPI_TIMODE_DISABLE;
  hspi1.Init.CRCCalculation = SPI_CRCCALCULATION_DISABLE;
  hspi1.Init.CRCPolynomial = 0x0;
  hspi1.Init.NSSPMode = SPI_NSS_PULSE_ENABLE;
  hspi1.Init.NSSPolarity = SPI_NSS_POLARITY_LOW;
  hspi1.Init.FifoThreshold = SPI_FIFO_THRESHOLD_01DATA;
  hspi1.Init.TxCRCInitializationPattern = SPI_CRC_INITIALIZATION_ALL_ZERO_PATTERN;
  hspi1.Init.RxCRCInitializationPattern = SPI_CRC_INITIALIZATION_ALL_ZERO_PATTERN;
  hspi1.Init.MasterSSIdleness = SPI_MASTER_SS_IDLENESS_00CYCLE;
  hspi1.Init.MasterInterDataIdleness = SPI_MASTER_INTERDATA_IDLENESS_00CYCLE;
  hspi1.Init.MasterReceiverAutoSusp = SPI_MASTER_RX_AUTOSUSP_DISABLE;
  hspi1.Init.MasterKeepIOState = SPI_MASTER_KEEP_IO_STATE_DISABLE;
  hspi1.Init.IOSwap = SPI_IO_SWAP_DISABLE;
  if (HAL_SPI_Init(&hspi1) != HAL_OK)
  {
    Error_Handler();
  }

}

static void MX_SPI2_Init(void)
{

  /* SPI2 parameter configuration*/
  hspi2.Instance = SPI2;
  hspi2.Init.Mode = SPI_MODE_MASTER;
  hspi2.Init.Direction = SPI_DIRECTION_2LINES;
  hspi2.Init.DataSize = SPI_DATASIZE_8BIT;
  hspi2.Init.CLKPolarity = SPI_POLARITY_LOW;
  hspi2.Init.CLKPhase = SPI_PHASE_1EDGE;
  hspi2.Init.NSS = SPI_NSS_HARD_OUTPUT;
  hspi2.Init.BaudRatePrescaler = SPI_BAUDRATEPRESCALER_32;
  hspi2.Init.FirstBit = SPI_FIRSTBIT_MSB;
  hspi2.Init.TIMode = SPI_TIMODE_DISABLE;
  hspi2.Init.CRCCalculation = SPI_CRCCALCULATION_DISABLE;
  hspi2.Init.CRCPolynomial = 0x0;
  hspi2.Init.NSSPMode = SPI_NSS_PULSE_ENABLE;
  hspi2.Init.NSSPolarity = SPI_NSS_POLARITY_LOW;
  hspi2.Init.FifoThreshold = SPI_FIFO_THRESHOLD_01DATA;
  hspi2.Init.TxCRCInitializationPattern = SPI_CRC_INITIALIZATION_ALL_ZERO_PATTERN;
  hspi2.Init.RxCRCInitializationPattern = SPI_CRC_INITIALIZATION_ALL_ZERO_PATTERN;
  hspi2.Init.MasterSSIdleness = SPI_MASTER_SS_IDLENESS_00CYCLE;
  hspi2.Init.MasterInterDataIdleness = SPI_MASTER_INTERDATA_IDLENESS_00CYCLE;
  hspi2.Init.MasterReceiverAutoSusp = SPI_MASTER_RX_AUTOSUSP_DISABLE;
  hspi2.Init.MasterKeepIOState = SPI_MASTER_KEEP_IO_STATE_DISABLE;
  hspi2.Init.IOSwap = SPI_IO_SWAP_DISABLE;
  if (HAL_SPI_Init(&hspi2) != HAL_OK)
  {
    Error_Handler();
  }

}

static void MX_TIM2_Init(void)
{

  TIM_ClockConfigTypeDef sClockSourceConfig = {0};
  TIM_MasterConfigTypeDef sMasterConfig = {0};

  htim2.Instance = TIM2;
  htim2.Init.Prescaler = 0;
  htim2.Init.CounterMode = TIM_COUNTERMODE_UP;
  htim2.Init.Period = 240000-1;
  htim2.Init.ClockDivision = TIM_CLOCKDIVISION_DIV1;
  htim2.Init.AutoReloadPreload = TIM_AUTORELOAD_PRELOAD_DISABLE;
  if (HAL_TIM_Base_Init(&htim2) != HAL_OK)
  {
    Error_Handler();
  }
  sClockSourceConfig.ClockSource = TIM_CLOCKSOURCE_INTERNAL;
  if (HAL_TIM_ConfigClockSource(&htim2, &sClockSourceConfig) != HAL_OK)
  {
    Error_Handler();
  }
  sMasterConfig.MasterOutputTrigger = TIM_TRGO_RESET;
  sMasterConfig.MasterSlaveMode = TIM_MASTERSLAVEMODE_DISABLE;
  if (HAL_TIMEx_MasterConfigSynchronization(&htim2, &sMasterConfig) != HAL_OK)
  {
    Error_Handler();
  }

}

static void MX_USART3_UART_Init(void)
{

  huart3.Instance = USART3;
  huart3.Init.BaudRate = 115200;
  huart3.Init.WordLength = UART_WORDLENGTH_8B;
  huart3.Init.StopBits = UART_STOPBITS_1;
  huart3.Init.Parity = UART_PARITY_NONE;
  huart3.Init.Mode = UART_MODE_TX_RX;
  huart3.Init.HwFlowCtl = UART_HWCONTROL_NONE;
  huart3.Init.OverSampling = UART_OVERSAMPLING_16;
  huart3.Init.OneBitSampling = UART_ONE_BIT_SAMPLE_DISABLE;
  huart3.Init.ClockPrescaler = UART_PRESCALER_DIV1;
  huart3.AdvancedInit.AdvFeatureInit = UART_ADVFEATURE_NO_INIT;
  if (HAL_UART_Init(&huart3) != HAL_OK)
  {
    Error_Handler();
  }
  if (HAL_UARTEx_SetTxFifoThreshold(&huart3, UART_TXFIFO_THRESHOLD_1_8) != HAL_OK)
  {
    Error_Handler();
  }
  if (HAL_UARTEx_SetRxFifoThreshold(&huart3, UART_RXFIFO_THRESHOLD_1_8) != HAL_OK)
  {
    Error_Handler();
  }
  if (HAL_UARTEx_DisableFifoMode(&huart3) != HAL_OK)
  {
    Error_Handler();
  }

}

static void MX_GPIO_Init(void)
{
  GPIO_InitTypeDef GPIO_InitStruct = {0};

  /* GPIO Ports Clock Enable */
  __HAL_RCC_GPIOC_CLK_ENABLE();
  __HAL_RCC_GPIOH_CLK_ENABLE();
  __HAL_RCC_GPIOA_CLK_ENABLE();
  __HAL_RCC_GPIOB_CLK_ENABLE();
  __HAL_RCC_GPIOD_CLK_ENABLE();
  __HAL_RCC_GPIOG_CLK_ENABLE();

  /*Configure GPIO pin Output Level */
  HAL_GPIO_WritePin(LED0_GPIO_Port, LED0_Pin, GPIO_PIN_RESET);

  /*Configure GPIO pin : LED0_Pin */
  GPIO_InitStruct.Pin = LED0_Pin;
  GPIO_InitStruct.Mode = GPIO_MODE_OUTPUT_PP;
  GPIO_InitStruct.Pull = GPIO_NOPULL;
  GPIO_InitStruct.Speed = GPIO_SPEED_FREQ_LOW;
  HAL_GPIO_Init(LED0_GPIO_Port, &GPIO_InitStruct);

}

/* USER CODE BEGIN 4 */

void udp_receive_callback( void* arg,              // User argument - udp_recv `arg` parameter
                           struct udp_pcb* upcb,   // Receiving Protocol Control Block
                           struct pbuf* p,         // Pointer to Datagram
                           const ip_addr_t* addr,  // Address of sender
                           u16_t port ){

	// process the data
	uint16_t udp_size = p->len;
	memcpy(udp_rx.bytes,p->payload, udp_size);
	/* data are big endian and need to be converted to little endian */
	int size = udp_size/2;
	for(int i=0; i < size; i++) {
		udp_rx.values[i] = __builtin_bswap16(udp_rx.values[i]);
	}

	// handle data here and distribute to individual SPI channels
	memcpy(spi1_tx.values, udp_rx.values, udp_size);
	memcpy(spi2_tx.values, udp_rx.values, udp_size);

	// Send data to SPI peripherals
	start = sys_time();
	HAL_SPI_TransmitReceive_IT(&hspi1, spi1_tx.bytes, spi1_rx.bytes, udp_size);
	end = sys_time();
	HAL_SPI_TransmitReceive_IT(&hspi2, spi2_tx.bytes, spi2_rx.bytes, udp_size);

	// free pbuf
	pbuf_free(p);
	udp_avail=1;
}

uint32_t sys_time(void){
	uint32_t current = sys_time_ms * 1000 + (TIM2->CNT)/240;
	return(current);

}
void HAL_SPI_TxRxCpltCallback (SPI_HandleTypeDef *hspi) {

	if(hspi->Instance == SPI1) {
	}
	if(hspi->Instance == SPI2) {
		HAL_GPIO_TogglePin(LED0_GPIO_Port, LED0_Pin);
		spi_data_ready=1;
	}

	return;
}

/* USER CODE END 4 */

 /* MPU Configuration */

void MPU_Config(void)
{
  MPU_Region_InitTypeDef MPU_InitStruct = {0};

  /* Disables the MPU */
  HAL_MPU_Disable();

  /** Initializes and configures the Region and the memory to be protected
  */
  MPU_InitStruct.Enable = MPU_REGION_ENABLE;
  MPU_InitStruct.Number = MPU_REGION_NUMBER0;
  MPU_InitStruct.BaseAddress = 0x0;
  MPU_InitStruct.Size = MPU_REGION_SIZE_4GB;
  MPU_InitStruct.SubRegionDisable = 0x87;
  MPU_InitStruct.TypeExtField = MPU_TEX_LEVEL0;
  MPU_InitStruct.AccessPermission = MPU_REGION_NO_ACCESS;
  MPU_InitStruct.DisableExec = MPU_INSTRUCTION_ACCESS_DISABLE;
  MPU_InitStruct.IsShareable = MPU_ACCESS_SHAREABLE;
  MPU_InitStruct.IsCacheable = MPU_ACCESS_NOT_CACHEABLE;
  MPU_InitStruct.IsBufferable = MPU_ACCESS_NOT_BUFFERABLE;

  HAL_MPU_ConfigRegion(&MPU_InitStruct);

  /** Initializes and configures the Region and the memory to be protected
  */
  MPU_InitStruct.Number = MPU_REGION_NUMBER1;
  MPU_InitStruct.BaseAddress = 0x30020000;
  MPU_InitStruct.Size = MPU_REGION_SIZE_128KB;
  MPU_InitStruct.SubRegionDisable = 0x0;
  MPU_InitStruct.TypeExtField = MPU_TEX_LEVEL1;
  MPU_InitStruct.AccessPermission = MPU_REGION_FULL_ACCESS;
  MPU_InitStruct.IsShareable = MPU_ACCESS_NOT_SHAREABLE;

  HAL_MPU_ConfigRegion(&MPU_InitStruct);

  /** Initializes and configures the Region and the memory to be protected
  */
  MPU_InitStruct.Number = MPU_REGION_NUMBER2;
  MPU_InitStruct.BaseAddress = 0x30040000;
  MPU_InitStruct.Size = MPU_REGION_SIZE_512B;
  MPU_InitStruct.TypeExtField = MPU_TEX_LEVEL0;
  MPU_InitStruct.IsShareable = MPU_ACCESS_SHAREABLE;
  MPU_InitStruct.IsBufferable = MPU_ACCESS_BUFFERABLE;

  HAL_MPU_ConfigRegion(&MPU_InitStruct);
  /* Enables the MPU */
  HAL_MPU_Enable(MPU_PRIVILEGED_DEFAULT);

}

void HAL_TIM_PeriodElapsedCallback(TIM_HandleTypeDef *htim)
{
  if (htim->Instance == TIM6)
  {
    HAL_IncTick();
  }
  /* USER CODE BEGIN Callback 1 */
  if (htim->Instance == TIM2)
  {
    sys_time_ms+=1;
  }
  /* USER CODE END Callback 1 */
}

void Error_Handler(void)
{
  __disable_irq();
  while (1)
  {
  }
}
